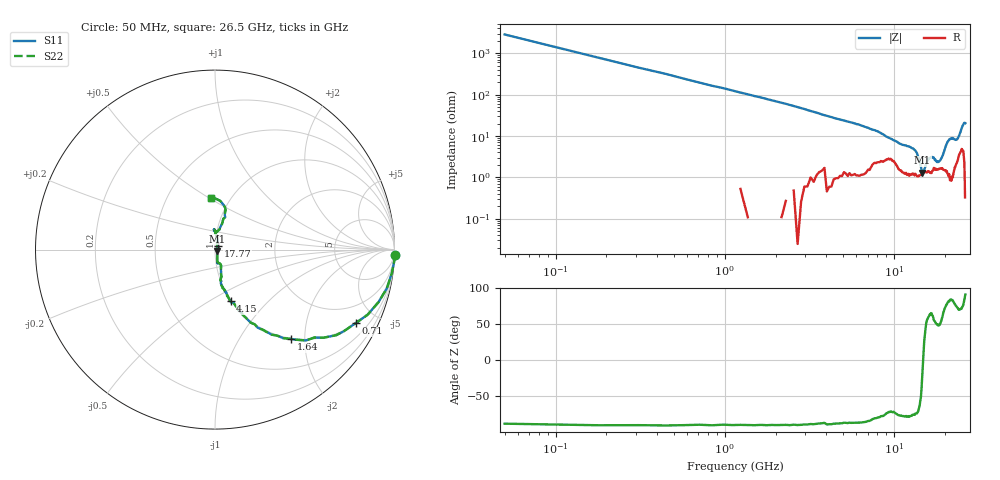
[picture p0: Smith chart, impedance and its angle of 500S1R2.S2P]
!  American Technical Ceramics  Date:  3/6/98
!  One Norden Lane
!  Huntington Station,  NY.  11746-2102
!  Tel:  (516) 547-5700  Fax:  (516) 547-5748
!  Part Number  500S1R2
!  Description: Broadband Microwave capacitor
!  Application:
# GHZ S DB R 50
! Freq  |S11|  S11 Ph  |S21|  S21 Ph  |S12|  S12 Ph  |S22|  S22 Ph
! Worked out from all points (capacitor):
!   201 points, 50 MHz to 26.5 GHz, reference 50 ohm
!   read as one part in series: C = 1.14 pF near 180 MHz
!   lowest |Z| = 1.3 ohm at 14.73 GHz (marker M1)
!   series resonance near 14.87 GHz, so ESL is about 100 pH
!   S11 on the Smith chart (normalised r, x): 50 MHz: -12, -64; 710 MHz: 1.02, -3.81; 1.64 GHz: 0.99, -1.72; 4.15 GHz: 0.99, -0.63; 17.77 GHz: 1.03, +0.04; 26.5 GHz: 0.81, +0.51
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0.05  0.05 -1.7  -29.04 86.4  -29.04 86.4  0.05 -1.7
0.18  -0.05 -7.4  -17.88 82.8  -17.88 82.8  -0.05 -7.4
0.31  -0.16 -12.7  -13.22 77.5  -13.22 77.5  -0.16 -12.7
0.71  -1.07 -27.6  -6.92 62.0  -6.92 62.0  -1.07 -27.6
1.64  -3.67 -49.5  -2.36 39.9  -2.36 39.9  -3.67 -49.5
2.7  -6.88 -64.0  -1.00 26.0  -1.00 26.0  -6.88 -64.0
4.15  -10.47 -73.1  -0.43 15.3  -0.43 15.3  -10.47 -73.1
4.55  -11.25 -74.5  -0.41 13.3  -0.41 13.3  -11.25 -74.5
8.91  -19.39 -72.0  -0.27 4.8  -0.27 4.8  -19.39 -72.0
10.76  -22.71 -77.3  -0.18 3.1  -0.18 3.1  -22.71 -77.3
13.28  -23.24 -79.0  -0.11 1.1  -0.11 1.1  -23.24 -79.0
14.07  -27.49 -72.1  -0.09 0.6  -0.09 0.6  -27.49 -72.1
14.73  -36.70 -30.9  -0.10 0.1  -0.10 0.1  -36.70 -30.9
14.99  -36.52 17.5  -0.11 -0.1  -0.11 -0.1  -36.52 17.5
15.79  -28.71 68.7  -0.13 -0.4  -0.13 -0.4  -28.71 68.7
16.32  -27.23 72.1  -0.12 -0.6  -0.12 -0.6  -27.23 72.1
17.77  -31.97 46.3  -0.12 -1.1  -0.12 -1.1  -31.97 46.3
18.96  -34.95 28.4  -0.15 -2.0  -0.15 -2.0  -34.95 28.4
20.68  -22.32 84.0  -0.22 -3.2  -0.22 -3.2  -22.32 84.0
22.14  -18.85 91.9  -0.34 -3.5  -0.34 -3.5  -18.85 91.9
23.86  -19.83 82.3  -0.43 -3.3  -0.43 -3.3  -19.83 82.3
26.5  -10.84 94.9  -0.84 -6.3  -0.84 -6.3  -10.84 94.9
